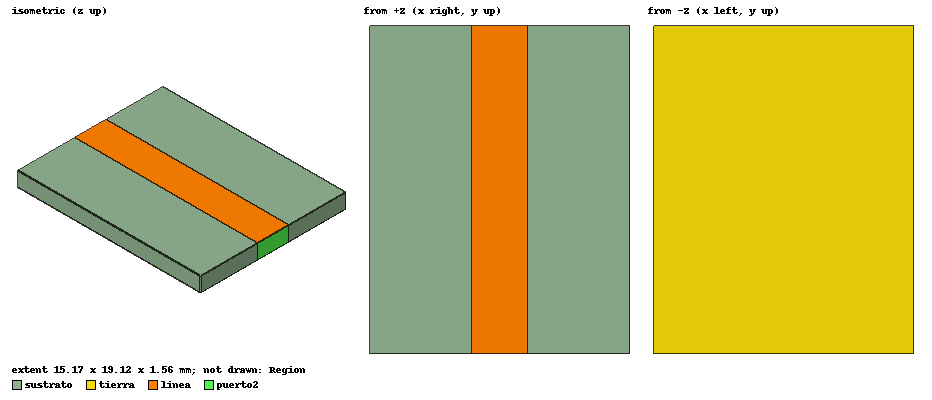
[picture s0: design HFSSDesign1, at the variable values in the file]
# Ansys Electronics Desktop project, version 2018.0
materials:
  vacuum: permittivity=1
  FR4_epoxy: permittivity=4.4 dielectric_loss_tangent=0.02
  copper: permeability=0.999991 conductivity=58000000
  air: permittivity=1.0006 permeability=1.0000004

design HFSSDesign1 (HFSS, DrivenModal, model units mm)
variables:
  WL = 3.2539mm
  LL = 19.12mm
  lambda = 100mm
  LM = 47.67mm
  h = 1.524mm
  t = 0.018mm
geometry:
  sustrato [FR4_epoxy] = box(corner=(0mm, 0mm, 0), size=(WL+LM/4, LL, h))
  linea [copper] = box(corner=((WL+LM/4)/2 -wl/2, 0mm, h), size=(WL, LL, t))
  tierra [copper] = box(corner=(0mm, 0mm, -t), size=(WL+LM/4, LL, t))
  puerto1 = rectangle(corner=((WL+LM/4)/2 -wl/2, 0mm, 0), z_size=h, x_size=wl)
  puerto2 = rectangle(corner=((WL+LM/4)/2 -wl/2, LL, 0mm), z_size=h, x_size=wl)
  Region [air] = region(absolute_offset=lambda/4 on all sides)
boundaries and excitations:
  Rad1: Radiation Objects=Region
  1: Lumped Port Objects=puerto1 Modes{Mode1{IntLine{middle of puerto1.edge(z at corner) -> middle of puerto1.edge(z opposite corner)} CharImp=Zpi RenormImp=107ohm}} Impedance=47ohm
  2: Lumped Port Objects=puerto2 Modes{Mode1{IntLine{middle of puerto2.edge(z at corner) -> middle of puerto2.edge(z opposite corner)} CharImp=Zpi}} Impedance=47ohm
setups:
  Setup1: HfssDriven Frequency=4GHz MaxDeltaS=0.02 MaximumPasses=6 MinimumPasses=1 MinimumConvergedPasses=1 PercentRefinement=30 BasisOrder=1 PortAccuracy=2
    sweep Sweep: 1GHz to 5GHz step 0.05GHz; Type=Interpolating InterpTolerance=0.5 InterpMaxSolns=250 InterpUsePortImped=false PassivityErrorTolerance=0.0001
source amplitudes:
  1:1: 1W 0deg
  2:1: 0W 0deg
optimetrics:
  ParametricSetup1: Parametric Sim._Setups=[Setup1]
    sweep LL: LIN 0.00555mm 0.01665mm 0.0002mm
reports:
  S Parameter Plot 1: dB(S(1,1)), dB(S(1,2)), dB(S(2,1)), dB(S(2,2)) vs Freq on Setup1 : Sweep; markers MX1 at x=2.998776e+09
  Z Parameter Plot 1: re(Z(1,1)), im(Z(1,1)) vs Freq on Setup1 : Sweep; markers MX1 at x=4.0025349e+09
  VSWR Plot 1: VSWR(1) vs Freq on Setup1 : Sweep; markers MX1 at x=3.0023838e+09
  S Parameter Plot 2: dB(S(1,1)) vs Freq on Setup1 : Sweep [LL=all]; markers MX1 at x=4.002448e+09
  Z Parameter Plot 2: re(Z(1,1)), im(Z(1,1)) vs Freq on Setup1 : Sweep [LL=all]; markers MX1 at x=4.0025349e+09
  Active Z Parameter Plot 1: re(ActiveZ(1:1)), im(ActiveZ(1:1)) vs Freq on Setup1 : Sweep [LL=all]; markers MX1 at x=3.0049383e+09
  S Parameter Plot 3: dB(S(1,1)), dB(S(1,2)), dB(S(2,1)), dB(S(2,2)) vs Freq on Setup1 : Sweep [LL=all]; markers MX1 at x=4.004914e+09
  S Parameter Plot 4: dB(S(1,1)) vs Freq on Setup1 : Sweep; markers MX1 at x=3.997552e+09
